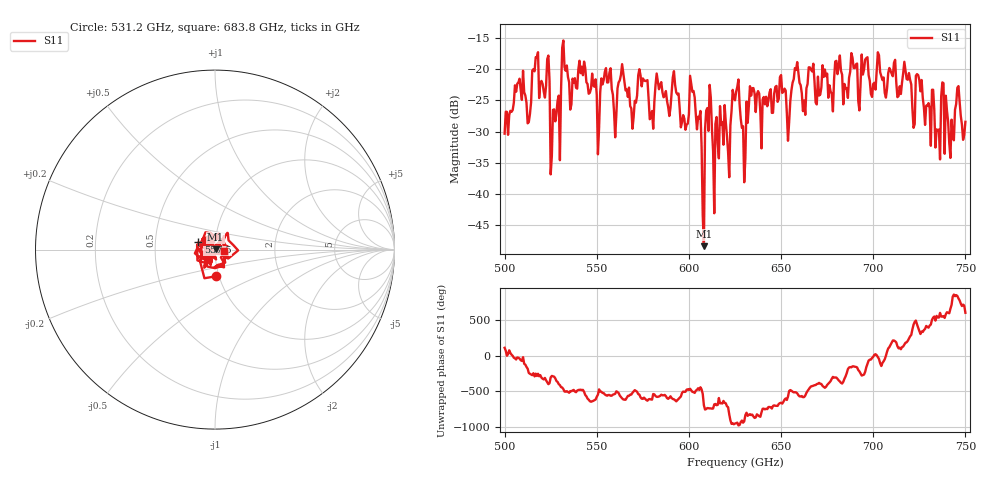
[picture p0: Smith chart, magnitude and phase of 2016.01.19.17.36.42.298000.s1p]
!Created with skrf (http://scikit-rf.org).
# GHz S RI R 50.0
!freq ReS11 ImS11
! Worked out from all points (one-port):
!   401 points, 500 GHz to 750 GHz, reference 50 ohm
!   lowest |S11| = -48.4 dB at 608.1 GHz (marker M1), VSWR 1.01, Z = 50.4 + j0.14 ohm
!   |S11| at or under -10 dB: start of sweep to end of sweep
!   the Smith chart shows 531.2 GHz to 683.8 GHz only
!   S11 on the Smith chart (normalised r, x): 531.2 GHz: 0.97, -0.29; 557.5 GHz: 0.83, +0.07; 683.8 GHz: 1.11, -0.02
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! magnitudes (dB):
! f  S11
! 500 GHz  -30.3
! 506.9 GHz  -22.3
! 513.1 GHz  -28.5
! 516.9 GHz  -18.1
! 523.1 GHz  -18.4
! 526.2 GHz  -26.5
! 531.2 GHz  -16.6
! 557.5 GHz  -19.8
! 562.5 GHz  -21.8
! 569.4 GHz  -29.5
! 573.8 GHz  -21.0
! 580 GHz  -26.7
! 593.8 GHz  -24.0
! 598.8 GHz  -28.9
! 601.9 GHz  -23.6
! 608.1 GHz  -48.4
! 610.6 GHz  -29.9
! 615 GHz  -27.7
! 625 GHz  -25.0
! 629.4 GHz  -29.1
! 634.4 GHz  -23.0
! 656.2 GHz  -22.2
! 683.8 GHz  -25.6
! 687.5 GHz  -20.4
! 718.8 GHz  -21.7
! 735 GHz  -29.8
! 738.1 GHz  -22.2
! 750 GHz  -28.4
